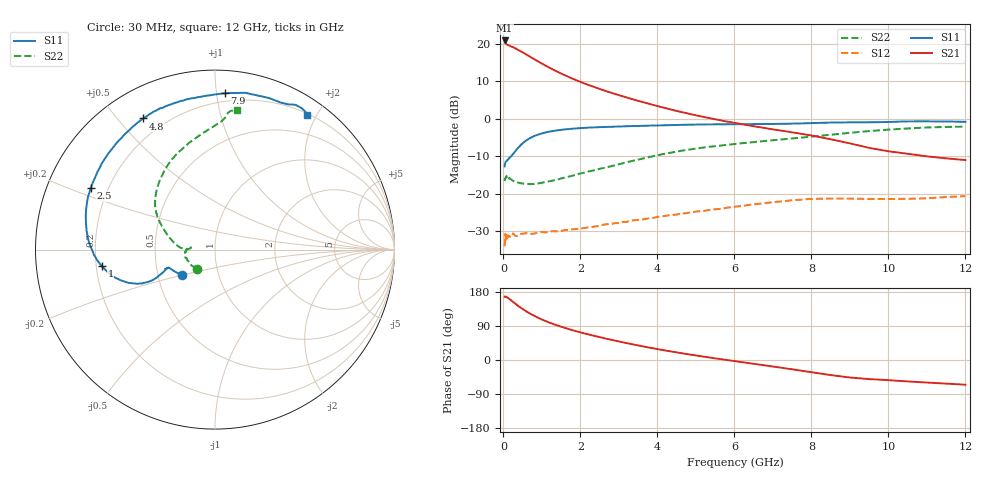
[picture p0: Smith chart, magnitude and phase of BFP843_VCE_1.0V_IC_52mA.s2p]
! Infineon Technologies  Discrete & RF Semiconductors
! BFP843
! VCE =  1.0 V,  IC =  52 mA
! Common Emitter S-Parameters:  Aug 2013
# GHz  S  MA  R  50
!  f  S11  S21  S12  S22
! GHz  MAG  ANG  MAG  ANG  MAG  ANG  MAG  ANG
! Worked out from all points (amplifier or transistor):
!   103 points, 30 MHz to 12 GHz, reference 50 ohm
!   highest |S21| = 20.9 dB at 30 MHz (marker M1)
!   |S21| within 3 dB of that: start of sweep to 469 MHz
!   unconditionally stable (mu >= 1): start of sweep to end of sweep
!   at 400 MHz: K = 1.92, MAG = 19.2 dB, |S12| = -31.1 dB
!   at 3.7 GHz: K = 2.28, MAG = 9.1 dB, |S12| = -26.7 dB
!   at 12 GHz: K = 1.76, MAG = -0.3 dB, |S12| = -20.7 dB
!   S11 on the Smith chart (normalised r, x): 30 MHz: 0.67, -0.20; 1 GHz: 0.22, -0.07; 2.5 GHz: 0.13, +0.23; 4.8 GHz: 0.12, +0.58; 7.9 GHz: 0.14, +1.05; 12 GHz: 0.21, +1.88
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0.03  0.2309 -142.3  11.11 166.9  0.0199 30.4  0.1473 -134.2
0.04  0.2496 -149.3  10.61 166.6  0.0235 25.5  0.1581 -145.7
0.05  0.2582 -152.3  10.34 167.6  0.0291 26.1  0.1591 -153.0
0.07  0.2701 -156.9  9.945 166.9  0.0232 16.9  0.1644 -162.8
0.3  0.3636 -154.2  8.746 149.3  0.0275 11.7  0.1433 174.6
0.4  0.4189 -154.3  8.201 141.5  0.0279 8.2  0.1399 173.6
0.5  0.4719 -156.2  7.709 134.5  0.0292 10.9  0.1365 174.1
0.7  0.5555 -162.2  6.697 121.9  0.0289 10.6  0.1342 175.4
1  0.6373 -171.6  5.45 106.8  0.0308 12.3  0.1399 177.5
1.2  0.6746 -177.5  4.791 98.5  0.0314 14.8  0.1466 178.5
1.5  0.7116 174.6  4.014 87.9  0.0319 15.7  0.1596 179.1
1.8  0.7369 167.5  3.426 78.5  0.0334 17.9  0.1739 178.5
2.1  0.7558 161.3  2.966 70.2  0.0347 20.3  0.191 176.8
2.5  0.773 153.6  2.502 60.3  0.0371 21.6  0.2146 173.3
3.3  0.7974 139.5  1.858 42.5  0.0437 23.4  0.2698 163.9
4.1  0.817 127.3  1.433 27.0  0.0495 23.6  0.334 154.6
4.8  0.8338 118.8  1.173 15.1  0.0556 21.4  0.387 147.9
6.1  0.8456 106.8  0.864 -4.3  0.0677 15.8  0.4659 134.1
7.9  0.8728 86.4  0.61 -30.7  0.0846 1.0  0.5712 112.4
8.5  0.8897 79.0  0.533 -39.8  0.0861 -5.5  0.6116 103.7
10.5  0.9231 60.9  0.341 -56.5  0.0854 -16.8  0.7418 85.3
12  0.9108 55.6  0.281 -65.2  0.0927 -24.0  0.7853 81.2
